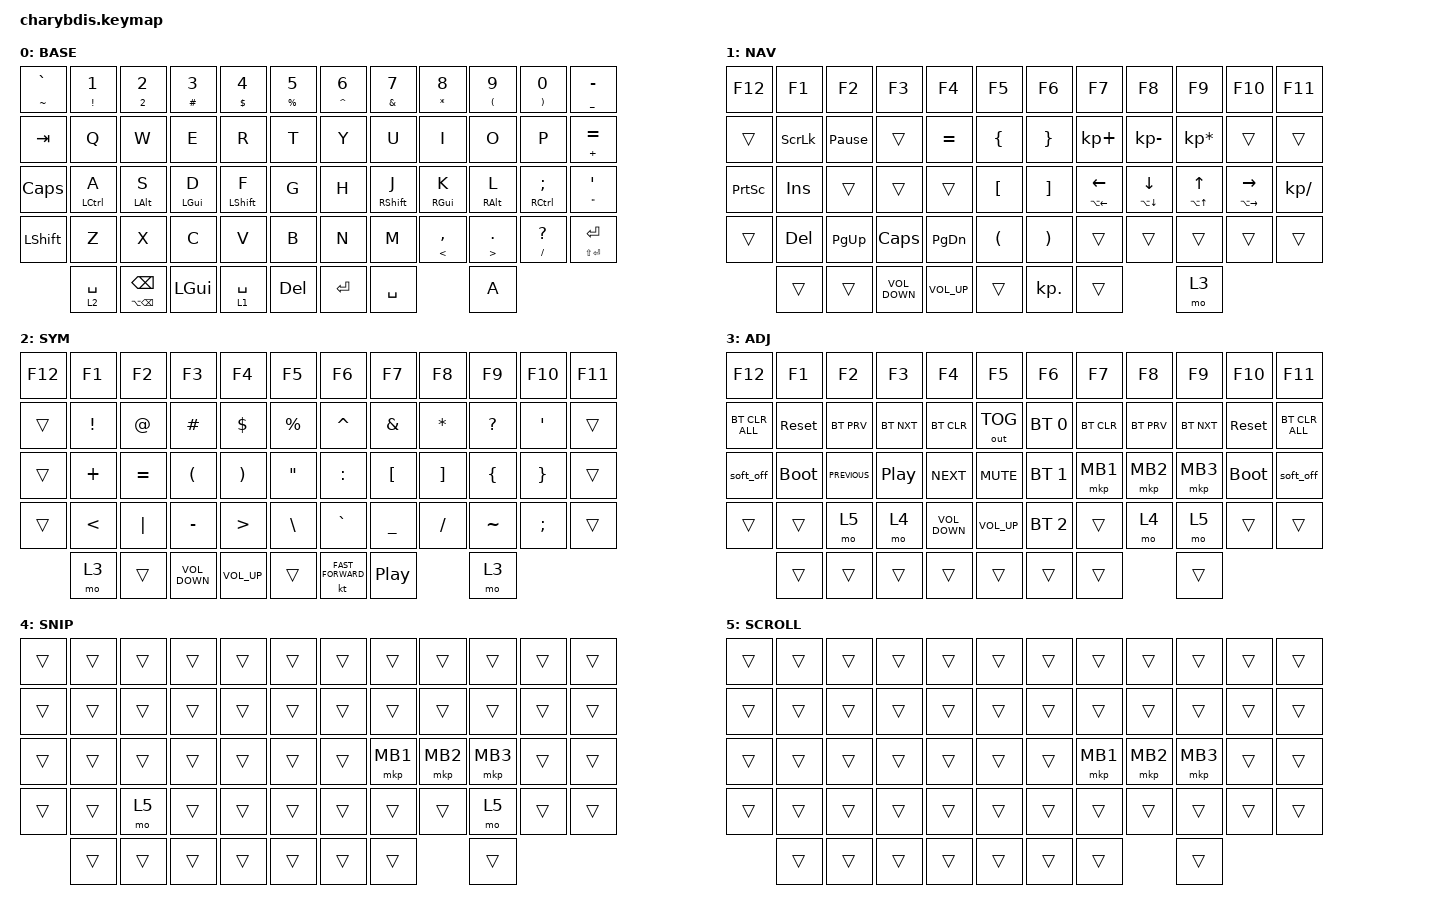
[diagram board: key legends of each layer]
#include <dt-bindings/zmk/mouse.h>
#include <behaviors/mouse_keys.dtsi>
#include <behaviors.dtsi>
#include <dt-bindings/zmk/bt.h>
#include <dt-bindings/zmk/keys.h>
#include <dt-bindings/zmk/outputs.h>
#include <dt-bindings/zmk/pointing.h>

/ {
    chosen { zmk,matrix_transform = &default_transform; };
};

&mt {
    quick-tap-ms = <200>;
    flavor = "tap-preferred";
    tapping-term-ms = <170>;
};

&lt {
    quick-tap-ms = <200>;
    flavor = "tap-preferred";
    tapping-term-ms = <170>;
};

/ {
    combos {
        compatible = "zmk,combos";

        combo_esc {
            timeout-ms = <50>;
            key-positions = <0 1>;
            bindings = <&kp ESC>;
        };

        combo_backsapce {
            bindings = <&kp BACKSPACE>;
            key-positions = <10 11>;
        };
    };

    behaviors {
        hml: hml {
            compatible = "zmk,behavior-hold-tap";
            label = "HML";
            bindings = <&kp>, <&kp>;

            #binding-cells = <2>;
            tapping-term-ms = <170>;
            quick-tap-ms = <130>;
            flavor = "tap-preferred";
            hold-trigger-key-positions = <6 7 8 9 10 11 18 19 20 21 22 23 30 31 32 33 34 35 42 43 44 45 46 47 53 54 55>;
            hold-trigger-on-release;
        };

        hmr: hmr {
            compatible = "zmk,behavior-hold-tap";
            label = "HMR";
            bindings = <&kp>, <&kp>;

            #binding-cells = <2>;
            tapping-term-ms = <170>;
            quick-tap-ms = <130>;
            flavor = "tap-preferred";
            hold-trigger-key-positions = <0 1 2 3 4 5 12 13 14 15 16 17 24 25 26 27 28 29 36 37 38 39 40 41 48 49 50 51 52>;
            hold-trigger-on-release;
        };
    };

    keymap {
        compatible = "zmk,keymap";

        BASE {
            bindings = <
&mt TILDE GRAVE  &mt EXCLAMATION NUMBER_1  &mt N2 NUMBER_2              &mt HASH NUMBER_3  &mt DOLLAR NUMBER_4  &mt PERCENT N5  &mt CARET NUMBER_6         &mt AMPERSAND N7  &mt ASTERISK N8      &mt LEFT_PARENTHESIS N9  &mt RIGHT_PARENTHESIS N0  &mt UNDER MINUS
&kp TAB          &kp Q                     &kp W                        &kp E              &kp R                &kp T                               &kp Y  &kp U             &kp I                &kp O                    &kp P                     &mt PLUS EQUAL
&kp CLCK         &hml LCTRL A              &hml LALT S                  &hml LGUI D        &hml LSHIFT F        &kp G                               &kp H  &hmr RSHIFT J     &hmr RGUI K          &hmr RALT L              &hmr RCTRL SEMI           &mt DOUBLE_QUOTES SINGLE_QUOTE
&kp LSHIFT       &kp Z                     &kp X                        &kp C              &kp V                &kp B                               &kp N  &kp M             &mt LESS_THAN COMMA  &mt GREATER_THAN DOT     &mt SLASH QUESTION        &mt LS(ENTER) RET
                 &lt 2 SPACE               &mt LA(BACKSPACE) BACKSPACE  &kp LGUI           &lt 1 SPACE          &kp DEL         &kp ENTER                  &kp SPACE                              &kp A
            >;
        };

        NAV {
            bindings = <
&kp F12          &kp F1          &kp F2           &kp F3             &kp F4           &kp F5    &kp F6                &kp F7                         &kp F8                         &kp F9                     &kp F10                          &kp F11
&trans           &kp SCROLLLOCK  &kp PAUSE_BREAK  &trans             &kp EQUAL        &kp LBRC              &kp RBRC  &kp KP_PLUS                    &kp KP_MINUS                   &kp KP_MULTIPLY            &trans                           &trans
&kp PRINTSCREEN  &kp INSERT      &trans           &trans             &trans           &kp LBKT              &kp RBKT  &mt LA(LEFT_ARROW) LEFT_ARROW  &mt LA(DOWN_ARROW) DOWN_ARROW  &mt LA(UP_ARROW) UP_ARROW  &mt LA(RIGHT_ARROW) RIGHT_ARROW  &kp KP_DIVIDE
&trans           &kp DEL         &kp PG_UP        &kp CAPS           &kp PG_DN        &kp LPAR              &kp RPAR  &trans                         &trans                         &trans                     &trans                           &trans
                 &trans          &trans           &kp C_VOLUME_DOWN  &kp C_VOLUME_UP  &trans    &kp KP_DOT            &trans                                                        &mo 3
            >;
        };

        SYM {
            bindings = <
&kp F12  &kp F1         &kp F2     &kp F3             &kp F4            &kp F5         &kp F6                         &kp F7            &kp F8     &kp F9        &kp F10        &kp F11
&trans   &kp EXCL       &kp AT     &kp HASH           &kp DLLR          &kp PRCNT                          &kp CARET  &kp AMPS          &kp STAR   &kp QUESTION  &kp SQT        &trans
&trans   &kp PLUS       &kp EQUAL  &kp LPAR           &kp RPAR          &kp DQT                            &kp COLON  &kp LBKT          &kp RBKT   &kp LBRC      &kp RBRC       &trans
&trans   &kp LESS_THAN  &kp PIPE   &kp MINUS          &kp GREATER_THAN  &kp BACKSLASH                      &kp GRAVE  &kp UNDERSCORE    &kp SLASH  &kp TILDE     &kp SEMICOLON  &trans
         &mo 3          &trans     &kp C_VOLUME_DOWN  &kp C_VOLUME_UP   &trans         &kt C_FAST_FORWARD             &kp C_PLAY_PAUSE             &mo 3
            >;
        };

        ADJ {
            bindings = <
&kp F12         &kp F1       &kp F2          &kp F3            &kp F4             &kp F5           &kp F6                &kp F7      &kp F8      &kp F9      &kp F10      &kp F11
&bt BT_CLR_ALL  &sys_reset   &bt BT_PRV      &bt BT_NXT        &bt BT_CLR         &out OUT_TOG             &bt BT_SEL 0  &bt BT_CLR  &bt BT_PRV  &bt BT_NXT  &sys_reset   &bt BT_CLR_ALL
&soft_off       &bootloader  &kp C_PREVIOUS  &kp C_PLAY_PAUSE  &kp C_NEXT         &kp C_MUTE               &bt BT_SEL 1  &mkp MB1    &mkp MB2    &mkp MB3    &bootloader  &soft_off
&trans          &trans       &mo 5           &mo 4             &kp C_VOLUME_DOWN  &kp C_VOLUME_UP          &bt BT_SEL 2  &trans      &mo 4       &mo 5       &trans       &trans
                &trans       &trans          &trans            &trans             &trans           &trans                &trans                  &trans
            >;
        };

        SNIP {
            bindings = <
&trans  &trans  &trans  &trans  &trans  &trans  &trans          &trans    &trans    &trans    &trans  &trans
&trans  &trans  &trans  &trans  &trans  &trans          &trans  &trans    &trans    &trans    &trans  &trans
&trans  &trans  &trans  &trans  &trans  &trans          &trans  &mkp MB1  &mkp MB2  &mkp MB3  &trans  &trans
&trans  &trans  &mo 5   &trans  &trans  &trans          &trans  &trans    &trans    &mo 5     &trans  &trans
        &trans  &trans  &trans  &trans  &trans  &trans          &trans              &trans
            >;
        };

        SCROLL {
            bindings = <
&trans  &trans  &trans  &trans  &trans  &trans  &trans          &trans    &trans    &trans    &trans  &trans
&trans  &trans  &trans  &trans  &trans  &trans          &trans  &trans    &trans    &trans    &trans  &trans
&trans  &trans  &trans  &trans  &trans  &trans          &trans  &mkp MB1  &mkp MB2  &mkp MB3  &trans  &trans
&trans  &trans  &trans  &trans  &trans  &trans          &trans  &trans    &trans    &trans    &trans  &trans
        &trans  &trans  &trans  &trans  &trans  &trans          &trans              &trans
            >;
        };
    };
};
